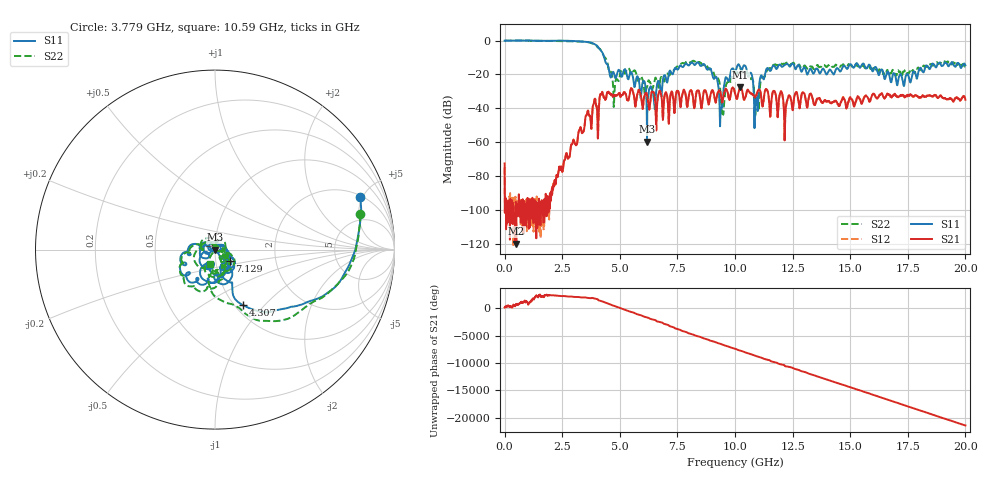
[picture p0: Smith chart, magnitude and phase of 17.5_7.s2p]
#  HZ  S  RI  R  50.00
! Rohde & Schwarz Vector Network Analyzer
! Rohde-Schwarz,ZNB20-2Port,1311601062102128,3.60
! Created: UTC 4/29/2024, 2:59:01 PM
! freq[Hz]  re:S11  im:S11  re:S21  im:S21  re:S12  im:S12  re:S22  im:S22
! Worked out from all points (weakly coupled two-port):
!   2007 points, 100 kHz to 20 GHz, reference 50 ohm
!   highest |S21| = -27.68 dB at 10.23 GHz (marker M1); lowest = -119.9 dB at 508.6 MHz (marker M2)
!   lowest |S11| = -59.8 dB at 6.182 GHz (marker M3), VSWR 1.00, Z = 50.1 - j0.0853 ohm
!   |S11| at or under -10 dB: 4.326 GHz to end of sweep
!   |S22| runs from -44.7 to 0.1 dB; largest |S21 - S12| = 0.0022
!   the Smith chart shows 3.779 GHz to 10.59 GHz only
!   S11 on the Smith chart (normalised r, x): 3.779 GHz: 2.08, +4.77; 4.307 GHz: 1.09, -0.76; 7.129 GHz: 1.17, -0.15; 10.59 GHz: 0.92, -0.16
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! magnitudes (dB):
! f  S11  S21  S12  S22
! 100 kHz  0.0  -72.6  -74.9  0.1
! 508.6 MHz  0.0  -119.9  -95.3  0.0
! 2.223 GHz  -0.1  -84.7  -82.9  -0.3
! 3.34 GHz  -0.6  -53.9  -53.5  -0.6
! 3.779 GHz  -1.3  -50.0  -50.2  -1.6
! 4.307 GHz  -9.2  -33.8  -34.0  -9.2
! 4.776 GHz  -20.7  -32.4  -32.4  -28.9
! 5.354 GHz  -22.8  -35.4  -35.2  -16.4
! 6.182 GHz  -59.8  -31.9  -32.0  -27.4
! 6.67 GHz  -23.8  -32.0  -32.0  -27.2
! 7.129 GHz  -19.7  -49.2  -49.2  -20.6
! 8.654 GHz  -13.9  -29.7  -29.7  -14.3
! 9.192 GHz  -21.6  -34.6  -34.6  -22.5
! 9.402 GHz  -40.1  -33.2  -33.3  -36.4
! 10 GHz  -18.7  -31.2  -31.1  -19.3
! 10.23 GHz  -15.8  -27.7  -27.7  -16.8
! 10.59 GHz  -20.6  -29.6  -29.6  -21.6
! 10.92 GHz  -33.6  -32.6  -32.5  -34.5
! 11.42 GHz  -16.2  -29.9  -29.9  -16.8
! 13.34 GHz  -18.0  -32.8  -32.8  -15.3
! 16.67 GHz  -19.1  -31.7  -31.8  -20.5
! 20 GHz  -14.6  -34.9  -34.8  -14.4
